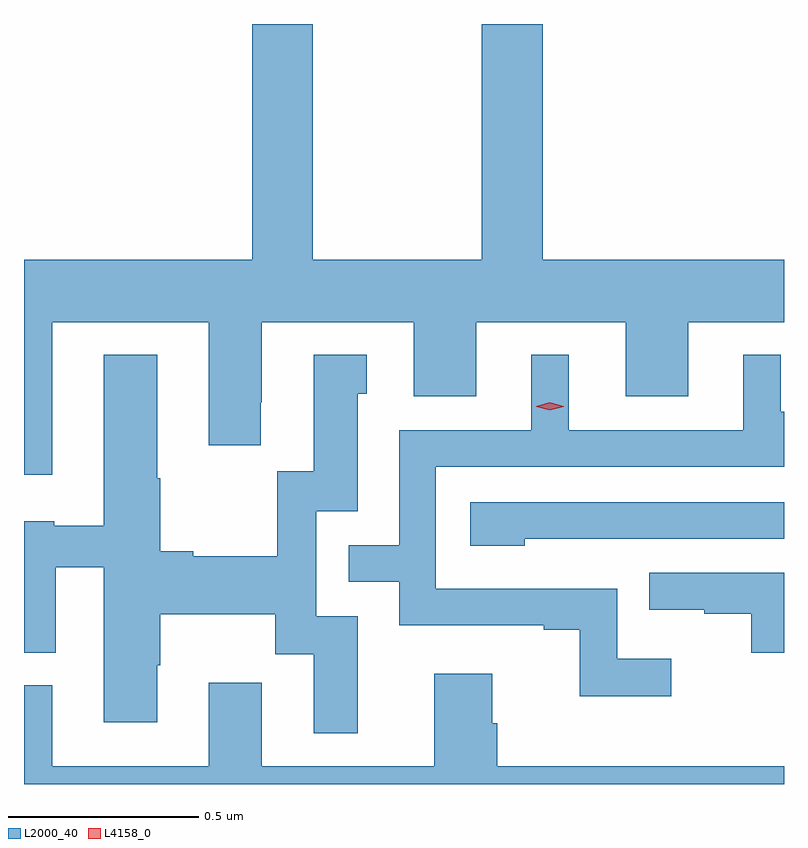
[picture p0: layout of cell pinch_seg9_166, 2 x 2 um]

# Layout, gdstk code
import gdstk
lib = gdstk.Library(unit=1e-6, precision=1e-09)
def P(c, l, *ps):  # polygons
    for p in ps: c.add(gdstk.Polygon(p, *l))
L2000_40 = (2000, 40)
L4158_0 = (4158, 0)

pinch_seg9_166 = lib.new_cell('pinch_seg9_166')
P(pinch_seg9_166, L2000_40, [(668.791,1180.436),(669.203,1180.436),(669.203,1180.113),(669.34,1180.113),(669.34,1180.225),(669.343,1180.225),(669.343,1180.436),(669.743,1180.436),(669.743,1180.242),(669.907,1180.242),(669.907,1180.436),(670.301,1180.436),(670.301,1180.242),(670.465,1180.242),(670.465,1180.436),(670.717,1180.436),(670.717,1180.6),(670.082,1180.6),(670.082,1181.221),(669.922,1181.221),(669.922,1180.6),(669.477,1180.6),(669.477,1181.221),(669.317,1181.221),(669.317,1180.6),(668.717,1180.6),(668.717,1180.035),(668.791,1180.035)],
  [(669.595,1179.663),(669.486,1179.663),(669.486,1179.939),(669.595,1179.939),(669.595,1180.248),(669.619,1180.248),(669.619,1180.351),(669.479,1180.351),(669.479,1180.044),(669.383,1180.044),(669.383,1179.82),(669.163,1179.82),(669.163,1179.833),(669.075,1179.833),(669.075,1180.025),(669.067,1180.025),(669.067,1180.351),(668.927,1180.351),(668.927,1179.901),(668.796,1179.901),(668.796,1179.913),(668.717,1179.913),(668.717,1179.566),(668.8,1179.566),(668.8,1179.792),(668.927,1179.792),(668.927,1179.384),(669.067,1179.384),(669.067,1179.534),(669.075,1179.534),(669.075,1179.668),(669.378,1179.668),(669.378,1179.562),(669.479,1179.562),(669.479,1179.354),(669.595,1179.354)],
  [(670.42,1179.55),(670.278,1179.55),(670.278,1179.735),(669.801,1179.735),(669.801,1180.056),(670.717,1180.056),(670.717,1180.2),(670.708,1180.2),(670.708,1180.351),(670.61,1180.351),(670.61,1180.152),(670.15,1180.152),(670.15,1180.351),(670.052,1180.351),(670.052,1180.152),(669.705,1180.152),(669.705,1179.849),(669.571,1179.849),(669.571,1179.753),(669.705,1179.753),(669.705,1179.639),(670.085,1179.639),(670.085,1179.627),(670.18,1179.627),(670.18,1179.452),(670.42,1179.452)],
  [(670.035,1179.866),(670.271,1179.866),(670.271,1179.867),(670.717,1179.867),(670.717,1179.963),(669.891,1179.963),(669.891,1179.848),(670.035,1179.848)],
  [(670.717,1179.777),(670.363,1179.777),(670.363,1179.68),(670.507,1179.68),(670.507,1179.669),(670.631,1179.669),(670.631,1179.567),(670.717,1179.567)],
  [(670.717,1179.268),(669.962,1179.268),(669.962,1179.381),(669.949,1179.381),(669.949,1179.511),(669.797,1179.511),(669.797,1179.268),(669.343,1179.268),(669.343,1179.487),(669.203,1179.487),(669.203,1179.268),(668.791,1179.268),(668.791,1179.481),(668.717,1179.481),(668.717,1179.221),(670.717,1179.221)])
P(pinch_seg9_166, L4158_0, [(670.101,1180.205),(670.065,1180.214),(670.065,1180.215),(670.065,1180.215),(670.101,1180.225),(670.137,1180.215),(670.137,1180.215),(670.137,1180.214)])

lib.write_gds('pinch_seg9_166.gds')
